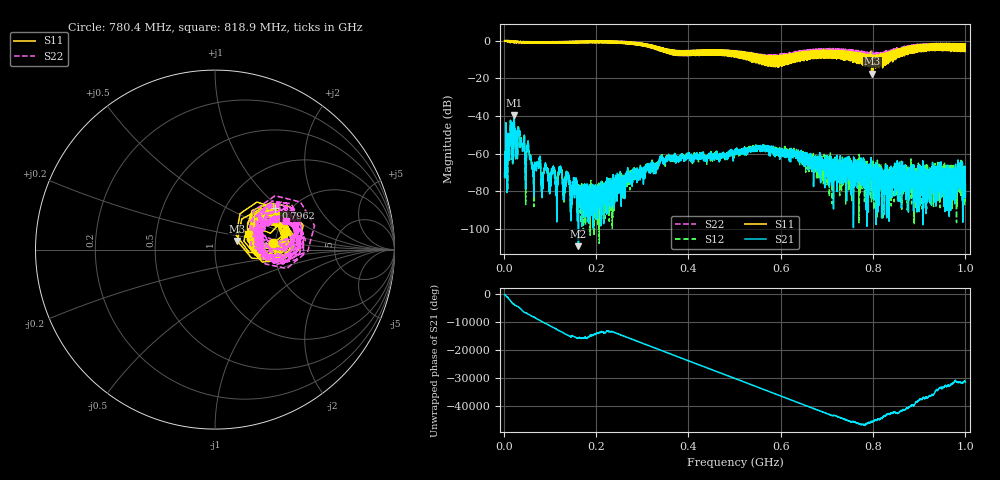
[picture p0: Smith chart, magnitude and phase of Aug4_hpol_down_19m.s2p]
!Keysight Technologies N9923A: A.12.45
!Date: Tuesday, 05 August 2025 18:21:30
!Timezone: (UTC+08:00) Kuala Lumpur, Singapore
!Model: N9923A
!Serial: MY61181427
!GPS Latitude:
!GPS Longitude:
!GPS TimeStamp: 0001-01-01 00:00:00Z
!GPS Seconds Since Last Read: 0
!CHECKSUM:1550653870
!Correction: S11(ON U)S21(ON U)S12(ON U)S22(ON U)
!S2P File: Measurements:S11,S21,S12,S22:
# Hz S DB R 50
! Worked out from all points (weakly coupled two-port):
!   4001 points, 2 MHz to 1 GHz, reference 50 ohm
!   highest |S21| = -39.64 dB at 22.96 MHz (marker M1); lowest = -109.1 dB at 161.9 MHz (marker M2)
!   lowest |S11| = -17.5 dB at 798.7 MHz (marker M3), VSWR 1.31, Z = 63.9 + j6.17 ohm
!   |S11| at or under -10 dB: 569.0674 MHz to 569.9135 MHz (846.1 kHz wide, 0.149 % of centre); 575.8139 MHz to 576.691 MHz (877.1 kHz wide, 0.152 % of centre); 582.5545 MHz to 583.4471 MHz (892.6 kHz wide, 0.153 % of centre)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
!   |S22| runs from -13.8 to 0.1 dB; largest |S21 - S12| = 0.00091
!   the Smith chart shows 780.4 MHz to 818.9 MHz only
!   S11 on the Smith chart (normalised r, x): 780.4 MHz: 1.94, +0.15; 796.2 MHz: 1.68, +0.94; 818.9 MHz: 1.42, +0.26
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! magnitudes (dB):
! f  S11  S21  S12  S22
! 2 MHz  -0.1  -71.4  -72.8  -0.1
! 13.73 MHz  -0.5  -50.0  -50.1  -0.2
! 22.96 MHz  -0.9  -39.6  -39.5  -0.7
! 35.68 MHz  -0.9  -56.7  -56.7  -1.0
! 44.17 MHz  -1.3  -52.6  -52.2  -1.1
! 54.4 MHz  -1.2  -58.0  -57.4  -1.3
! 65.87 MHz  -1.2  -70.1  -69.1  -1.1
! 75.1 MHz  -0.7  -66.0  -65.1  -0.7
! 114.3 MHz  -0.9  -77.5  -76.6  -0.7
! 122.5 MHz  -0.6  -69.4  -68.2  -0.5
! 161.9 MHz  -1.1  -109.1  -82.1  -1.0
! 168.4 MHz  -1.2  -77.6  -79.2  -1.0
! 222.3 MHz  -1.1  -76.8  -76.5  -1.0
! 334.8 MHz  -4.2  -65.7  -65.5  -4.8
! 501 MHz  -6.1  -59.8  -59.0  -7.1
! 667.4 MHz  -8.7  -66.7  -70.4  -8.2
! 780.4 MHz  -9.8  -78.1  -72.9  -11.8
! 796.2 MHz  -7.8  -67.3  -64.8  -5.7
! 798.7 MHz  -17.5  -84.0  -67.8  -8.6
! 818.9 MHz  -13.9  -76.8  -71.6  -7.4
! 833.8 MHz  -9.0  -80.4  -72.0  -5.5
! 1 GHz  -1.8  -78.8  -75.5  -3.6
